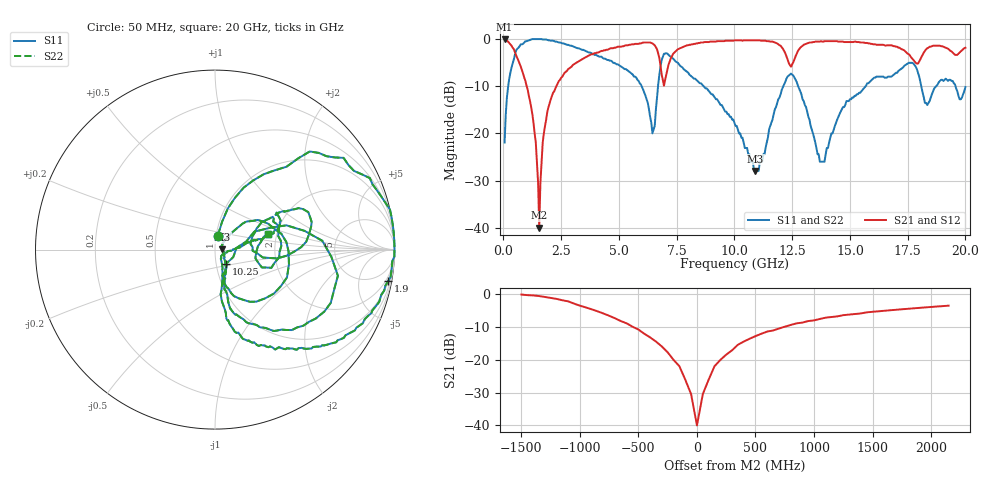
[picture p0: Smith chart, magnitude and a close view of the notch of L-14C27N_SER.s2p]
# MHZ S MA R 50
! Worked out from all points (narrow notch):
!   400 points, 50 MHz to 20 GHz, reference 50 ohm
!   highest |S21| = -0.09 dB at 50 MHz (marker M1); lowest = -40.0 dB at 1.55 GHz (marker M2)
!   notch at M2: 38.6 dB deep, 364 MHz wide at half that depth
!   lowest |S11| = -28.0 dB at 10.9 GHz (marker M3), VSWR 1.08, Z = 54.2 + j0.22 ohm
!   |S11| at or under -10 dB: 5.984 GHz to 6.693 GHz (709.2 MHz wide, 11.2 % of centre); 8.669 GHz to 12.12 GHz (3.447 GHz wide, 33.2 % of centre); 12.76 GHz to 15.68 GHz (2.922 GHz wide, 20.5 % of centre) (the widest 3 of 6)
!   |S22| runs from -28.0 to 0.0 dB; largest |S21 - S12| = 0
!   S11 on the Smith chart (normalised r, x): 50 MHz: 1.02, +0.16; 1.9 GHz: 1, -11; 10.25 GHz: 1.11, -0.18; 20 GHz: 1.80, +0.35
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50  0.08 78.7  0.99 -3.5  0.99 -3.5  0.08 78.7
350  0.5 57.1  0.85 -29.2  0.85 -29.2  0.5 57.1
1200  0.99 14.5  0.19 -77.8  0.19 -77.8  0.99 14.5
1400  1 6.9  0.08 -80.8  0.08 -80.8  1 6.9
1550  1 1.3  0.01 19.5  0.01 19.5  1 1.3
1700  0.99 -3.7  0.08 77.2  0.08 77.2  0.99 -3.7
1900  0.98 -10.4  0.17 75.1  0.17 75.1  0.98 -10.4
3400  0.77 -44.8  0.61 46.0  0.61 46.0  0.77 -44.8
5750  0.39 -80.6  0.89 14.2  0.89 14.2  0.39 -80.6
6450  0.1 -49.1  0.9 -5.7  0.9 -5.7  0.1 -49.1
6700  0.33 21.6  0.7 -22.7  0.7 -22.7  0.33 21.6
6950  0.7 -12.0  0.32 5.3  0.32 5.3  0.7 -12.0
7350  0.62 -46.3  0.7 26.7  0.7 26.7  0.62 -46.3
10050  0.12 -61.6  0.97 -5.8  0.97 -5.8  0.12 -61.6
10250  0.1 -52.9  0.97 -7.4  0.97 -7.4  0.1 -52.9
10900  0.04 2.9  0.97 -13.0  0.97 -13.0  0.04 2.9
12450  0.43 -21.1  0.51 -16.6  0.51 -16.6  0.43 -21.1
13350  0.11 -67.6  0.92 -11.7  0.92 -11.7  0.11 -67.6
13900  0.05 -22.7  0.95 -18.4  0.95 -18.4  0.05 -22.7
14850  0.22 13.0  0.93 -27.0  0.93 -27.0  0.22 13.0
16700  0.4 30.5  0.86 -39.9  0.86 -39.9  0.4 30.5
20000  0.31 16.7  0.81 -44.7  0.81 -44.7  0.31 16.7
